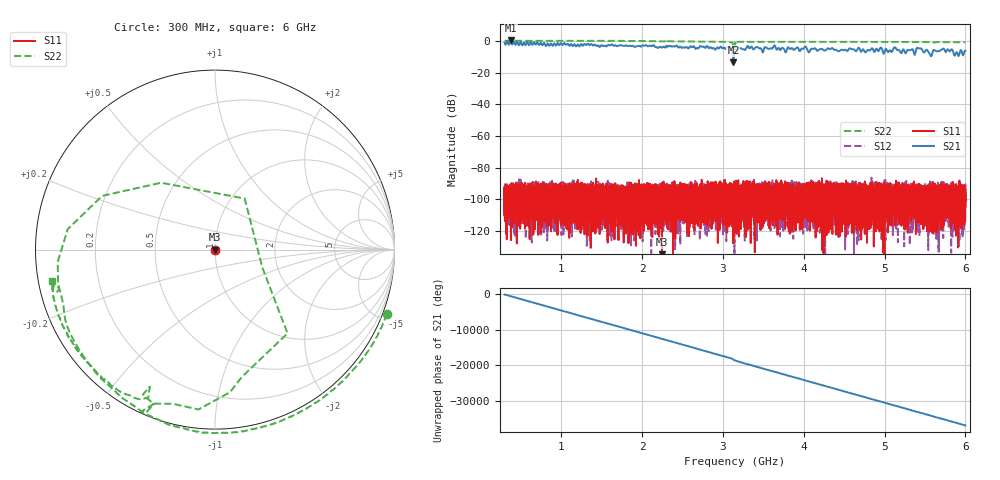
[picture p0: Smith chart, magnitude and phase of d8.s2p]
!Agilent Technologies,N5230C,SG49000117,A.08.50.07
!Agilent N5230C: A.08.50.07
!Date: Sunday, March 17, 2024 05:48:03
!Correction: S11(Off)
!S21(Off)
!S12(Off)
!S22(Full 1 Port(2))
!S2P File: Measurements: S11, S21, S12, S22:
# Hz S  RI  R 50
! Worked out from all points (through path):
!   20001 points, 300 MHz to 6 GHz, reference 50 ohm
!   highest |S21| = 0.42 dB at 373.2 MHz (marker M1); lowest = -13.4 dB at 3.13 GHz (marker M2)
!   lowest |S11| = -143.2 dB at 2.246 GHz (marker M3), VSWR 1.00, Z = 50 + j5.59e-06 ohm
!   |S11| at or under -10 dB: start of sweep to end of sweep
!   |S22| runs from -11.2 to 0.2 dB; largest |S21 - S12| = 1
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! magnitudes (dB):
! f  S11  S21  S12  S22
! 300 MHz  -93.4  -1.1  -96.2  0.2
! 373.2 MHz  -98.2  0.4  -93.5  0.2
! 1.25 GHz  -100.2  -1.9  -110.0  0.2
! 2.2 GHz  -98.9  -4.3  -99.2  0.0
! 2.246 GHz  -143.2  -4.0  -103.9  0.0
! 3.072 GHz  -101.0  -4.0  -101.1  -0.5
! 3.13 GHz  -96.2  -13.4  -96.7  -6.2
! 3.15 GHz  -97.4  -4.2  -102.1  -1.6
! 3.169 GHz  -99.6  -5.2  -101.6  -1.0
! 3.207 GHz  -101.0  -4.7  -108.1  -0.4
! 4.1 GHz  -95.2  -4.7  -99.1  -0.4
! 5.05 GHz  -95.3  -6.7  -103.5  -0.5
! 5.13 GHz  -103.2  -4.0  -106.7  -0.5
! 5.191 GHz  -98.2  -6.4  -106.6  -0.5
! 5.365 GHz  -110.1  -7.9  -102.1  -0.6
! 5.424 GHz  -98.0  -4.6  -112.1  -0.6
! 5.567 GHz  -96.6  -9.0  -91.7  -0.6
! 5.62 GHz  -99.1  -5.7  -103.6  -0.8
! 5.715 GHz  -103.6  -5.1  -98.5  -0.6
! 5.82 GHz  -100.7  -5.6  -91.0  -0.7
! 5.89 GHz  -103.5  -7.0  -108.7  -0.7
! 6 GHz  -93.5  -6.0  -100.0  -0.7
